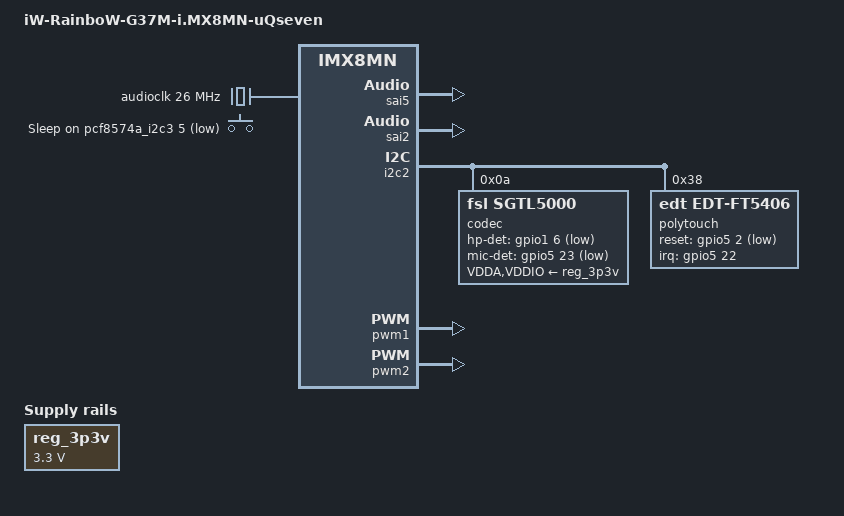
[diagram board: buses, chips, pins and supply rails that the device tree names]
// SPDX-License-Identifier: (GPL-2.0+ OR MIT)
/*
 * Copyright (C) 2022 iWave System Technologies Pvt Ltd.
 *
 * This program is free software; you can redistribute it and/or
 * modify it under the terms of the GNU General Public License
 * as published by the Free Software Foundation; either version 2
 * of the License, or (at your option) any later version.
 *
 * This program is distributed in the hope that it will be useful,
 * but WITHOUT ANY WARRANTY; without even the implied warranty of
 * MERCHANTABILITY or FITNESS FOR A PARTICULAR PURPOSE.  See the
 * GNU General Public License for more details.
 */

/dts-v1/;

#include "imx8mn-iwg37m-q7.dtsi"

/ {
	model = "iW-RainboW-G37M-i.MX8MN-uQseven";
	compatible = "fsl,imx8mn-iwg37m-q7", "fsl,imx8mn";

	audioclk: ext26Mz { /* SAI5: Clock Configuration */
		compatible = "fixed-clock";
		clock-frequency = <26000000>;
		#clock-cells = <0>;
	};

	regulators {
		compatible = "simple-bus";
		#address-cells = <1>;
		#size-cells = <0>;

		reg_3p3v: 3p3v { /* Fixed Regulator: common 3.3V Fixed regulator */
			compatible = "regulator-fixed";
			regulator-name = "3P3V";
			regulator-min-microvolt = <3300000>;
			regulator-max-microvolt = <3300000>;
			regulator-always-on;
		};
	};

	sound { /* SAI5: SGTL5000: Audio Codec support */
		compatible = "simple-audio-card";
                simple-audio-card,name = "sgtl5000-audio";
                simple-audio-card,format = "i2s";
                simple-audio-card,frame-master = <&codecdai>;
                simple-audio-card,bitclock-master = <&codecdai>;
                simple-audio-card,widgets =
                        "Microphone", "Microphone Jack",
                        "Headphone", "Headphone Jack",
                        "Speaker", "Speaker Ext",
                        "Line", "Line In Jack";
                simple-audio-card,routing =
                        "MIC_IN", "Microphone Jack",
                        "Microphone Jack", "Mic Bias",
                        "LINE_IN", "Line In Jack",
                        "Headphone Jack", "HP_OUT",
                        "Speaker Ext", "LINE_OUT";

		simple-audio-card,cpu {
                       sound-dai = <&sai5>;
                };

                codecdai:simple-audio-card,codec {
                       sound-dai = <&codec>;
                       system-clock-frequency = <26000000>;
                };
	};

        sound-hdmi {
                compatible = "fsl,hdmi-audio-lt8912";
                model = "hdmi-audio";
                cpu-dai = <&sai2>;
        };

        pwm_backlight1: pwm-backlight1 { /* PWM: PWM1 backlight Control */
                compatible = "pwm-backlight";
                pinctrl-names = "default";
                pinctrl-0 = <&pinctrl_pwm1>;
                pwms = <&pwm1 0 100000 0>;

                brightness-levels = < 0 1 2 3 4 5 6 7 8 9
                               10 11 12 13 14 15 16 17 18 19
                               20 21 22 23 24 25 26 27 28 29
                               30 31 32 33 34 35 36 37 38 39
                               40 41 42 43 44 45 46 47 48 49
                               50 51 52 53 54 55 56 57 58 59
                               60 61 62 63 64 65 66 67 68 69
                               70 71 72 73 74 75 76 77 78 79
                               80 81 82 83 84 85 86 87 88 89
                               90 91 92 93 94 95 96 97 98 99
                               100>;
                default-brightness-level = <100>;
                status = "disabled";
        };


        pwm_backlight2: pwm-backlight2 { /* PWM: PWM2 backlight Control */
                compatible = "pwm-backlight";
                pinctrl-names = "default";
                pinctrl-0 = <&pinctrl_pwm2>;
                pwms = <&pwm2 0 100000 0>;

                brightness-levels = < 0 1 2 3 4 5 6 7 8 9
                               10 11 12 13 14 15 16 17 18 19
                               20 21 22 23 24 25 26 27 28 29
                               30 31 32 33 34 35 36 37 38 39
                               40 41 42 43 44 45 46 47 48 49
                               50 51 52 53 54 55 56 57 58 59
                               60 61 62 63 64 65 66 67 68 69
                               70 71 72 73 74 75 76 77 78 79
                               80 81 82 83 84 85 86 87 88 89
                               90 91 92 93 94 95 96 97 98 99
                               100>;
                default-brightness-level = <100>;
                status = "disabled";
        };

        gpio-keys {
                compatible = "gpio-keys";

                back {
                        label = "Sleep";
                        gpios = <&pcf8574a_i2c3 5 GPIO_ACTIVE_LOW>;
                        linux,code = <KEY_SLEEP>;
                        wakeup-source;
                };
        };
};

&sai5 { /* SAI5: Serial Audio Interface for Audio Codec */
	#sound-dai-cells = <0>;
	pinctrl-names = "default";
	pinctrl-0 = <&pinctrl_sai5>;
	assigned-clocks = <&clk IMX8MN_CLK_SAI5>;
	assigned-clock-parents = <&clk IMX8MN_AUDIO_PLL1_OUT>;
	assigned-clock-rates = <49152000>;
	clocks = <&clk IMX8MN_CLK_SAI5_IPG>, <&clk IMX8MN_CLK_DUMMY>,
		<&clk IMX8MN_CLK_SAI5_ROOT>, <&clk IMX8MN_CLK_DUMMY>,
		<&clk IMX8MN_CLK_DUMMY>, <&clk IMX8MN_AUDIO_PLL1_OUT>,
		<&clk IMX8MN_AUDIO_PLL2_OUT>;
	clock-names = "bus", "mclk0", "mclk1", "mclk2", "mclk3", "pll8k", "pll11k";
	fsl,sai-multi-lane;
	dmas = <&sdma2 8 25 0>, <&sdma2 9 25 0>;
	status = "okay";
};

&sai2 {
        pinctrl-names = "default";
        pinctrl-0 = <&pinctrl_sai2>;
        assigned-clocks = <&clk IMX8MN_CLK_SAI2>;
        assigned-clock-parents = <&clk IMX8MN_VIDEO_PLL1_OUT>;
        clocks = <&clk IMX8MN_CLK_SAI2_IPG>, <&clk IMX8MN_CLK_DUMMY>,
                         <&clk IMX8MN_CLK_SAI2_ROOT>, <&clk IMX8MN_CLK_DUMMY>,
                         <&clk IMX8MN_CLK_DUMMY>, <&clk IMX8MN_AUDIO_PLL1_OUT>,
                         <&clk IMX8MN_AUDIO_PLL2_OUT>;
        assigned-clock-rates = <49152000>;
        clock-names = "bus", "mclk0", "mclk1", "mclk2", "mclk3", "pll8k", "pll11k";
        status = "okay";
};

&i2c2 { /* I2C: I2C2 Bus */

	codec: sgtl5000@a { /* Audio: SGTL5000 Audio Codec */
                compatible = "fsl,sgtl5000";
                reg = <0x0a>;
                pinctrl-names = "default";
                pinctrl-0 = <&pinctrl_hp_mic_detect>;
                clocks = <&audioclk 0>;
                VDDA-supply = <&reg_3p3v>;
                VDDIO-supply = <&reg_3p3v>;
                hp-det-gpios = <&gpio1 6 GPIO_ACTIVE_LOW>;
                mic-det-gpios = <&gpio5 23 GPIO_ACTIVE_LOW>;
                status = "okay";
	};

        polytouch: edt-ft5x06@38 {
                compatible = "edt,edt-ft5406", "edt,edt-ft5x06";
                reg = <0x38>;
                pinctrl-names = "default";
                pinctrl-0 = <&pinctrl_touch>;
                interrupt-parent = <&gpio5>;
                interrupts = <22 IRQ_TYPE_EDGE_FALLING>;
                reset-gpios = <&gpio5 2 GPIO_ACTIVE_LOW>;
                status = "okay";
        };
};

&pwm1 { /* PWM: PWM1 Control */
        status = "okay";
};

&pwm2 { /* PWM: PWM2 Control */
        status = "okay";
};

&iomuxc {

	imx8mn-iwg37m-q7 {

		pinctrl-names = "default";
		pinctrl_sai5: sai5grp { /* SAI5: IOMUX Pin Configuration */
			fsl,pins = <
				MX8MN_IOMUXC_SAI5_MCLK_SAI5_MCLK		0xd6
				MX8MN_IOMUXC_SAI5_RXD2_SAI5_TX_BCLK		0xd6
				MX8MN_IOMUXC_SAI5_RXD1_SAI5_TX_SYNC		0xd6
				MX8MN_IOMUXC_SAI5_RXD3_SAI5_TX_DATA0		0xd6
				MX8MN_IOMUXC_SAI5_RXD0_SAI5_RX_DATA0    	0xd6
			>;
		};

                pinctrl_hp_mic_detect: hp_mic_detect { /* SGTL5000: IOMUX Pin Configuration */
                        fsl,pins = <
                               MX8MN_IOMUXC_UART1_TXD_GPIO5_IO23                0x41 /* Microphone Detect GPIO */
                               MX8MN_IOMUXC_GPIO1_IO06_GPIO1_IO6                0x41 /* Headphone Detect GPIO */
                       >;
                };

                pinctrl_touch: touchgrp { /* TOUCH: IOMUX Pin Configuration */
                        fsl,pins = <
                                MX8MN_IOMUXC_SAI3_MCLK_GPIO5_IO2                0x41
                                MX8MN_IOMUXC_UART1_RXD_GPIO5_IO22               0x41
                        >;
                };
 
                pinctrl_pwm1: pwm1grp { /* PWM: PWM1 IOMUX Pin Configuration */
                        fsl,pins = <
                                MX8MN_IOMUXC_I2C4_SDA_PWM1_OUT                  0x400001c3
                        >;
                };

                pinctrl_pwm2: pwm2grp { /* PWM: PWM2 IOMUX Pin Configuration */
                        fsl,pins = <
                                MX8MN_IOMUXC_I2C4_SCL_PWM2_OUT                  0x400001c3
                        >;
                };

                pinctrl_sai2: sai2grp {
                        fsl,pins = <
                                MX8MN_IOMUXC_SAI2_TXC_SAI2_TX_BCLK      	0xd6
                                MX8MN_IOMUXC_SAI2_TXFS_SAI2_TX_SYNC     	0xd6
                                MX8MN_IOMUXC_SAI2_TXD0_SAI2_TX_DATA0    	0xd6
                        >;
                };
	};
};
